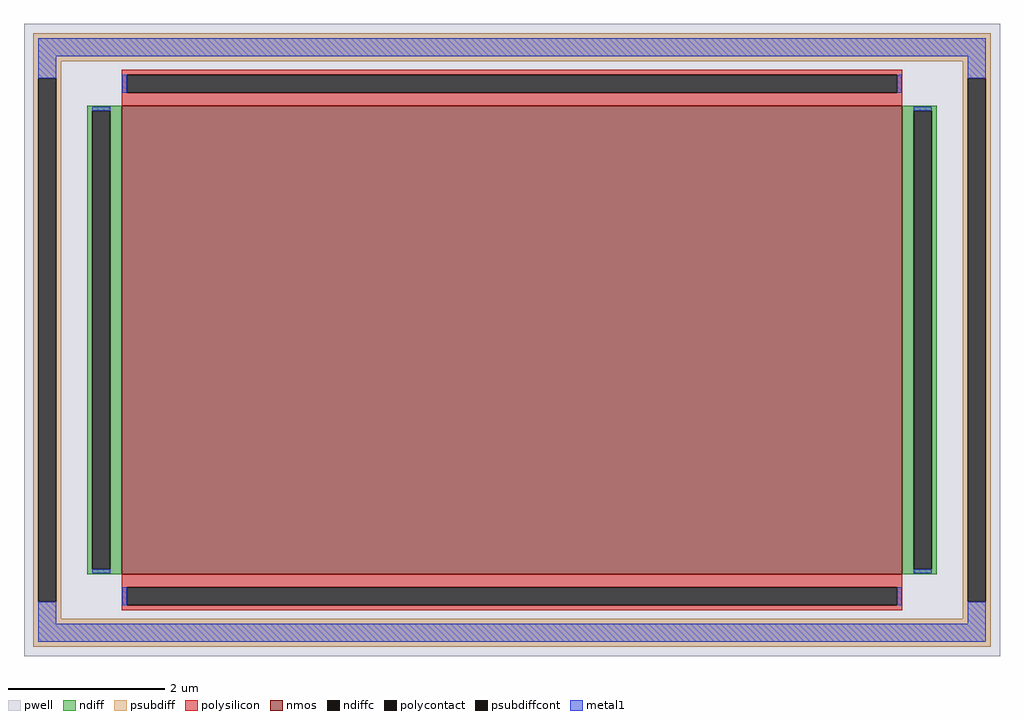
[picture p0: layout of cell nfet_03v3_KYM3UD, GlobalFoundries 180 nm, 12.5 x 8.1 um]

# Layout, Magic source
magic
tech gf180mcuD
magscale 1 10
<< pwell >>
rect -1250 -810 1250 810
<< nmos >>
rect -1000 -600 1000 600
<< ndiff >>
rect -1088 587 -1000 600
rect -1088 -587 -1075 587
rect -1029 -587 -1000 587
rect -1088 -600 -1000 -587
rect 1000 587 1088 600
rect 1000 -587 1029 587
rect 1075 -587 1088 587
rect 1000 -600 1088 -587
<< ndiffc >>
rect -1075 -587 -1029 587
rect 1029 -587 1075 587
<< psubdiff >>
rect -1226 714 1226 786
rect -1226 670 -1154 714
rect -1226 -670 -1213 670
rect -1167 -670 -1154 670
rect 1154 670 1226 714
rect -1226 -714 -1154 -670
rect 1154 -670 1167 670
rect 1213 -670 1226 670
rect 1154 -714 1226 -670
rect -1226 -786 1226 -714
<< psubdiffcont >>
rect -1213 -670 -1167 670
rect 1167 -670 1213 670
<< polysilicon >>
rect -1000 679 1000 692
rect -1000 633 -987 679
rect 987 633 1000 679
rect -1000 600 1000 633
rect -1000 -633 1000 -600
rect -1000 -679 -987 -633
rect 987 -679 1000 -633
rect -1000 -692 1000 -679
<< polycontact >>
rect -987 633 987 679
rect -987 -679 987 -633
<< metal1 >>
rect -1213 727 1213 773
rect -1213 670 -1167 727
rect -998 633 -987 679
rect 987 633 998 679
rect 1167 670 1213 727
rect -1075 587 -1029 598
rect -1075 -598 -1029 -587
rect 1029 587 1075 598
rect 1029 -598 1075 -587
rect -1213 -727 -1167 -670
rect -998 -679 -987 -633
rect 987 -679 998 -633
rect 1167 -727 1213 -670
rect -1213 -773 1213 -727
<< properties >>
string FIXED_BBOX -1190 -750 1190 750
string gencell nfet_03v3
string library gf180mcu
string parameters w 6.0 l 10.0 m 1 nf 1 diffcov 100 polycov 100 guard 1 glc 1 grc 1 gtc 0 gbc 0 tbcov 100 rlcov 100 topc 1 botc 1 poverlap 0 doverlap 1 lmin 0.28 wmin 0.22 class mosfet full_metal 1 compatible {nfet_03v3 nfet_06v0 nfet_06v0_nvt}
<< end >>
